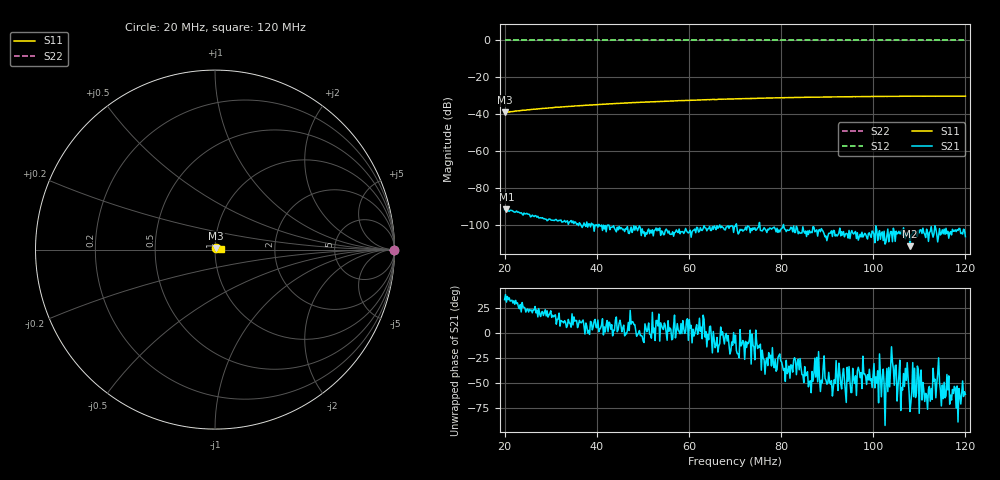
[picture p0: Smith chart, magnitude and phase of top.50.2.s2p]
! Anritsu VNA Master:  Model: MS2036C/10/77
! SN:  1601066
! /bd0/18may08.cable.cal/top.50.2.s2p
! Existing Calibration Information:
! TYPE:  Current Settings,  Active Cal Settings
! TIME:  05/08/2018 06:15:08 PM,  05/08/2018 05:57:55 PM
! INTERNAL TEMP:  49.5 C,  49.3 C
! # POINTS:  500,  500
! START FREQ:  20.000 MHz,  20.000 MHz
! STOP FREQ:  120.000 MHz,  120.000 MHz
! SOURCE POWER:  High,  High
! IFBW:  50 Hz,  50 Hz
! AVG FACTOR:  1 ,  1
! REF PLANE 1:  0 mm,  0 mm
! REF PLANE 2:  0 mm,  0 mm
! CAL TYPE:  Full S11,  Full S11
! CAL METHOD:  SOLT,  SOLT
! CAL LINE TYPE:  Coax,  Coax
! DUT PORT 1:  K-Conn(F),  K-Conn(F)
! DUT PORT 2:  K-Conn(F),  K-Conn(F)
! CAL STATUS:  OK: Accuracy High,  --
# GHZ S DB R 50.0
! FREQ.GHZ  S11DB  S11A  S21DB  S21A  S12DB  S12A  S22DB  S22A
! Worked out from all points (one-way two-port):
!   500 points, 20 MHz to 120 MHz, reference 50 ohm
!   highest |S21| = -91.31 dB at 20.4 MHz (marker M1); lowest = -111.2 dB at 108 MHz (marker M2)
!   lowest |S11| = -38.9 dB at 20 MHz (marker M3), VSWR 1.02, Z = 50.6 + j0.958 ohm
!   |S11| at or under -10 dB: start of sweep to end of sweep
!   |S22| runs from 0.0 to 0.0 dB; largest |S21 - S12| = 1
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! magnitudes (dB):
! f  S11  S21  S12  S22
! 20 MHz  -38.9  -91.4  0.0  0.0
! 20.4 MHz  -38.8  -91.3  0.0  0.0
! 23.81 MHz  -37.8  -93.8  0.0  0.0
! 28.02 MHz  -36.8  -96.0  0.0  0.0
! 31.02 MHz  -36.2  -96.8  0.0  0.0
! 31.82 MHz  -36.1  -97.2  0.0  0.0
! 35.43 MHz  -35.4  -98.3  0.0  0.0
! 36.83 MHz  -35.2  -101.1  0.0  0.0
! 41.24 MHz  -34.5  -102.7  0.0  0.0
! 46.45 MHz  -33.8  -102.0  0.0  0.0
! 53.47 MHz  -33.0  -102.7  0.0  0.0
! 62.89 MHz  -32.1  -102.7  0.0  0.0
! 65.09 MHz  -31.9  -100.7  0.0  0.0
! 65.69 MHz  -32.0  -101.0  0.0  0.0
! 66.69 MHz  -31.8  -99.8  0.0  0.0
! 70.1 MHz  -31.6  -100.5  0.0  0.0
! 80.92 MHz  -30.9  -102.2  0.0  0.0
! 86.73 MHz  -30.7  -103.9  0.0  0.0
! 100.8 MHz  -30.2  -102.4  0.0  0.0
! 103.4 MHz  -30.2  -108.8  0.0  0.0
! 108 MHz  -30.2  -111.2  0.0  0.0
! 120 MHz  -30.1  -106.1  0.0  0.0
